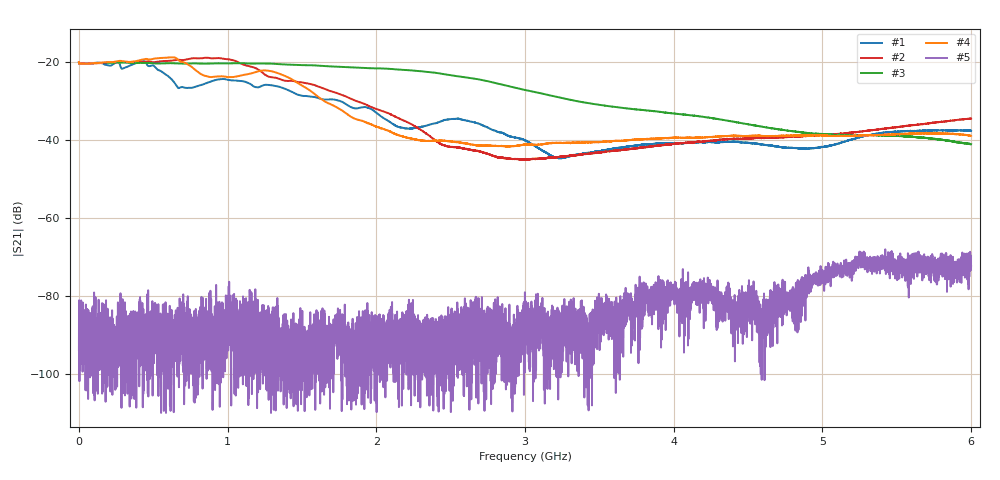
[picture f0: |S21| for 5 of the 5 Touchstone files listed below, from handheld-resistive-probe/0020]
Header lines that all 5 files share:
! Ref Plane: 0.000 mm
# MHZ S MA R  50
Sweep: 300 kHz to 6 GHz
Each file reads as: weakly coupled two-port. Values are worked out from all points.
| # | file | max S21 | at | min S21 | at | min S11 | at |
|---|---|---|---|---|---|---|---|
| 1 | flexground.s2p | -19.76 dB | 428.1 MHz | -44.7 dB | 3.242 GHz | -26.5 dB | 300 kHz |
| 2 | leafground.s2p | -18.93 dB | 855.9 MHz | -45.1 dB | 3 GHz | -26.4 dB | 900 kHz |
| 3 | tipground.s2p | -20.11 dB | 300 kHz | -41.1 dB | 5.994 GHz | -26.4 dB | 900 kHz |
| 4 | zground.s2p | -18.83 dB | 628.5 MHz | -41.7 dB | 2.879 GHz | -26.5 dB | 300 kHz |
| 5 | zin.s2p | -68.03 dB | 5.423 GHz | -109.9 dB | 1.292 GHz | -5.5 dB | 2.745 GHz |
